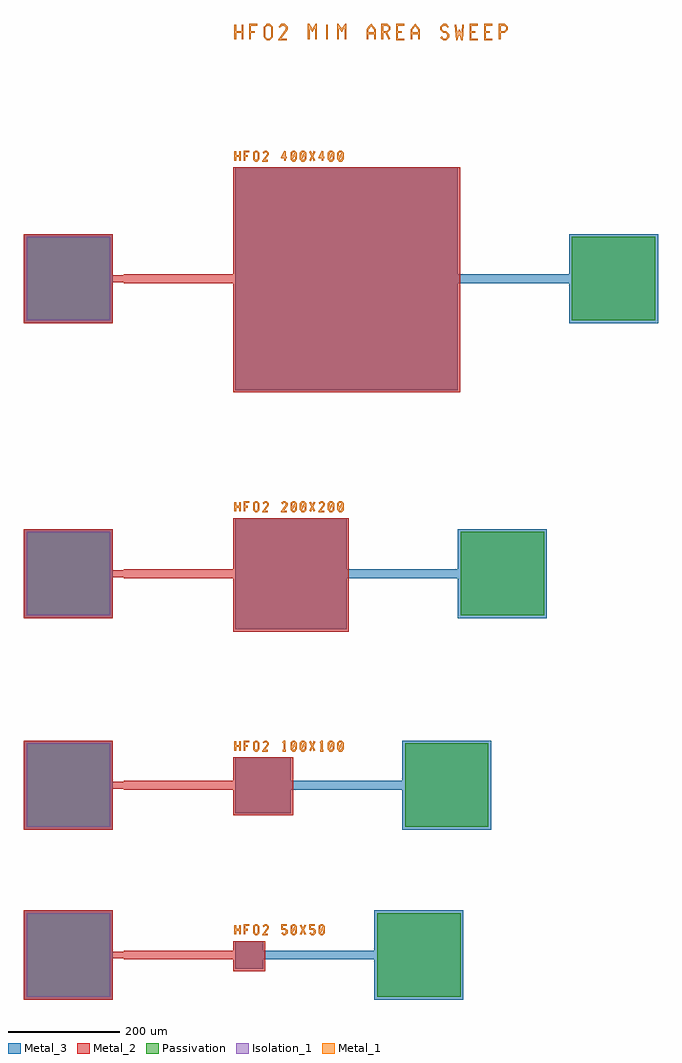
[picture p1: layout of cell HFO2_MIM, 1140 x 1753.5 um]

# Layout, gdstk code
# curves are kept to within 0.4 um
import gdstk
lib = gdstk.Library(unit=1e-6, precision=1e-09)
def R(c, l, rs):  # rectangles x0, y0, x1, y1
    for r in rs: c.add(gdstk.rectangle(r[:2], r[2:], *l))
def P(c, l, *ps):  # polygons
    for p in ps: c.add(gdstk.Polygon(p, *l))
Metal_1 = (1, 0)
Isolation_1 = (2, 0)
Metal_2 = (3, 0)
Metal_3 = (5, 0)
Passivation = (6, 0)

hfo2_mim = lib.new_cell('HFO2_MIM')
R(hfo2_mim, Metal_1, [(163.5,1670,166.5,1696.4)])
P(hfo2_mim, Metal_1, [(473.7,1670),(473.7,1694.9),(476.7,1694.9),(476.7,1684.7),(483.378,1684.7),(486.9,1688.222),(486.9,1691.378),(483.378,1694.9),(473.7,1694.9),(473.7,1697.9),(484.622,1697.9),(489.9,1692.622),(489.9,1686.978),(484.622,1681.7),(476.7,1681.7),(476.7,1670)],
  [(275.858,1669.328),(269.672,1681.7),(265.5,1681.7),(265.5,1670),(262.5,1670),(262.5,1694.9),(265.5,1694.9),(265.5,1684.7),(272.178,1684.7),(275.7,1688.222),(275.7,1691.378),(272.178,1694.9),(262.5,1694.9),(262.5,1697.9),(273.422,1697.9),(278.7,1692.622),(278.7,1686.978),(273.158,1681.436),(278.543,1670.671)],
  [(288.9,1668.5),(288.9,1697.9),(303.6,1697.9),(303.6,1694.9),(291.9,1694.9),(291.9,1684.7),(299.2,1684.7),(299.2,1681.7),(291.9,1681.7),(291.9,1671.5),(303.6,1671.5),(303.6,1668.5)],
  [(420.9,1668.5),(420.9,1697.9),(435.6,1697.9),(435.6,1694.9),(423.9,1694.9),(423.9,1684.7),(431.2,1684.7),(431.2,1681.7),(423.9,1681.7),(423.9,1671.5),(435.6,1671.5),(435.6,1668.5)],
  [(447.3,1668.5),(447.3,1697.9),(462,1697.9),(462,1694.9),(450.3,1694.9),(450.3,1684.7),(457.6,1684.7),(457.6,1681.7),(450.3,1681.7),(450.3,1671.5),(462,1671.5),(462,1668.5)],
  [(56.578,1668.5),(51.739,1673.339),(51.3,1674.4),(51.3,1692.622),(53.578,1694.9),(57.822,1694.9),(54.3,1691.378),(54.3,1675.022),(57.822,1671.5),(60.978,1671.5),(64.5,1675.022),(64.5,1691.378),(60.978,1694.9),(53.578,1694.9),(56.578,1697.9),(62.222,1697.9),(67.5,1692.622),(67.5,1673.778),(62.222,1668.5)],
  [(-1.5,62),(-1.5,78.8),(1.5,78.8),(1.5,71.9),(6.9,71.9),(6.9,78.8),(9.9,78.8),(9.9,62),(6.9,62),(6.9,68.9),(1.5,68.9),(1.5,62)],
  [(-1.5,392),(-1.5,408.8),(1.5,408.8),(1.5,401.9),(6.9,401.9),(6.9,408.8),(9.9,408.8),(9.9,392),(6.9,392),(6.9,398.9),(1.5,398.9),(1.5,392)],
  [(-1.5,822),(-1.5,838.8),(1.5,838.8),(1.5,831.9),(6.9,831.9),(6.9,838.8),(9.9,838.8),(9.9,822),(6.9,822),(6.9,828.9),(1.5,828.9),(1.5,822)],
  [(-1.5,1452),(-1.5,1468.8),(1.5,1468.8),(1.5,1461.9),(6.9,1461.9),(6.9,1468.8),(9.9,1468.8),(9.9,1452),(6.9,1452),(6.9,1458.9),(1.5,1458.9),(1.5,1452)],
  [(102.978,60.5),(99.739,63.739),(99.3,64.8),(99.3,69.9),(106.5,69.9),(102.781,64.941),(104.222,63.5),(105.778,63.5),(107.7,65.422),(107.7,69.5),(106.5,69.9),(99.3,69.9),(99.3,76.622),(99.978,77.3),(104.222,77.3),(102.3,75.378),(102.3,71.3),(103.5,70.9),(107.219,75.859),(105.778,77.3),(99.978,77.3),(102.978,80.3),(107.022,80.3),(110.7,76.622),(110.7,64.178),(107.022,60.5)],
  [(153.378,60.5),(150.139,63.739),(149.7,64.8),(149.7,69.9),(156.9,69.9),(153.181,64.941),(154.622,63.5),(156.178,63.5),(158.1,65.422),(158.1,69.5),(156.9,69.9),(149.7,69.9),(149.7,76.622),(150.378,77.3),(154.622,77.3),(152.7,75.378),(152.7,71.3),(153.9,70.9),(157.619,75.859),(156.178,77.3),(150.378,77.3),(153.378,80.3),(157.422,80.3),(161.1,76.622),(161.1,64.178),(157.422,60.5)],
  [(102.978,390.5),(99.739,393.739),(99.3,394.8),(99.3,399.9),(106.5,399.9),(102.781,394.941),(104.222,393.5),(105.778,393.5),(107.7,395.422),(107.7,399.5),(106.5,399.9),(99.3,399.9),(99.3,406.622),(99.978,407.3),(104.222,407.3),(102.3,405.378),(102.3,401.3),(103.5,400.9),(107.219,405.859),(105.778,407.3),(99.978,407.3),(102.978,410.3),(107.022,410.3),(110.7,406.622),(110.7,394.178),(107.022,390.5)],
  [(119.778,390.5),(116.539,393.739),(116.1,394.8),(116.1,399.9),(123.3,399.9),(119.581,394.941),(121.022,393.5),(122.578,393.5),(124.5,395.422),(124.5,399.5),(123.3,399.9),(116.1,399.9),(116.1,406.622),(116.778,407.3),(121.022,407.3),(119.1,405.378),(119.1,401.3),(120.3,400.9),(124.019,405.859),(122.578,407.3),(116.778,407.3),(119.778,410.3),(123.822,410.3),(127.5,406.622),(127.5,394.178),(123.822,390.5)],
  [(170.178,390.5),(166.939,393.739),(166.5,394.8),(166.5,399.9),(173.7,399.9),(169.981,394.941),(171.422,393.5),(172.978,393.5),(174.9,395.422),(174.9,399.5),(173.7,399.9),(166.5,399.9),(166.5,406.622),(167.178,407.3),(171.422,407.3),(169.5,405.378),(169.5,401.3),(170.7,400.9),(174.419,405.859),(172.978,407.3),(167.178,407.3),(170.178,410.3),(174.222,410.3),(177.9,406.622),(177.9,394.178),(174.222,390.5)],
  [(186.978,390.5),(183.739,393.739),(183.3,394.8),(183.3,399.9),(190.5,399.9),(186.781,394.941),(188.222,393.5),(189.778,393.5),(191.7,395.422),(191.7,399.5),(190.5,399.9),(183.3,399.9),(183.3,406.622),(183.978,407.3),(188.222,407.3),(186.3,405.378),(186.3,401.3),(187.5,400.9),(191.219,405.859),(189.778,407.3),(183.978,407.3),(186.978,410.3),(191.022,410.3),(194.7,406.622),(194.7,394.178),(191.022,390.5)],
  [(102.978,820.5),(99.739,823.739),(99.3,824.8),(99.3,829.9),(106.5,829.9),(102.781,824.941),(104.222,823.5),(105.778,823.5),(107.7,825.422),(107.7,829.5),(106.5,829.9),(99.3,829.9),(99.3,836.622),(99.978,837.3),(104.222,837.3),(102.3,835.378),(102.3,831.3),(103.5,830.9),(107.219,835.859),(105.778,837.3),(99.978,837.3),(102.978,840.3),(107.022,840.3),(110.7,836.622),(110.7,824.178),(107.022,820.5)],
  [(119.778,820.5),(116.539,823.739),(116.1,824.8),(116.1,829.9),(123.3,829.9),(119.581,824.941),(121.022,823.5),(122.578,823.5),(124.5,825.422),(124.5,829.5),(123.3,829.9),(116.1,829.9),(116.1,836.622),(116.778,837.3),(121.022,837.3),(119.1,835.378),(119.1,831.3),(120.3,830.9),(124.019,835.859),(122.578,837.3),(116.778,837.3),(119.778,840.3),(123.822,840.3),(127.5,836.622),(127.5,824.178),(123.822,820.5)],
  [(170.178,820.5),(166.939,823.739),(166.5,824.8),(166.5,829.9),(173.7,829.9),(169.981,824.941),(171.422,823.5),(172.978,823.5),(174.9,825.422),(174.9,829.5),(173.7,829.9),(166.5,829.9),(166.5,836.622),(167.178,837.3),(171.422,837.3),(169.5,835.378),(169.5,831.3),(170.7,830.9),(174.419,835.859),(172.978,837.3),(167.178,837.3),(170.178,840.3),(174.222,840.3),(177.9,836.622),(177.9,824.178),(174.222,820.5)],
  [(186.978,820.5),(183.739,823.739),(183.3,824.8),(183.3,829.9),(190.5,829.9),(186.781,824.941),(188.222,823.5),(189.778,823.5),(191.7,825.422),(191.7,829.5),(190.5,829.9),(183.3,829.9),(183.3,836.622),(183.978,837.3),(188.222,837.3),(186.3,835.378),(186.3,831.3),(187.5,830.9),(191.219,835.859),(189.778,837.3),(183.978,837.3),(186.978,840.3),(191.022,840.3),(194.7,836.622),(194.7,824.178),(191.022,820.5)],
  [(102.978,1450.5),(99.739,1453.739),(99.3,1454.8),(99.3,1459.9),(106.5,1459.9),(102.781,1454.941),(104.222,1453.5),(105.778,1453.5),(107.7,1455.422),(107.7,1459.5),(106.5,1459.9),(99.3,1459.9),(99.3,1466.622),(99.978,1467.3),(104.222,1467.3),(102.3,1465.378),(102.3,1461.3),(103.5,1460.9),(107.219,1465.859),(105.778,1467.3),(99.978,1467.3),(102.978,1470.3),(107.022,1470.3),(110.7,1466.622),(110.7,1454.178),(107.022,1450.5)],
  [(119.778,1450.5),(116.539,1453.739),(116.1,1454.8),(116.1,1459.9),(123.3,1459.9),(119.581,1454.941),(121.022,1453.5),(122.578,1453.5),(124.5,1455.422),(124.5,1459.5),(123.3,1459.9),(116.1,1459.9),(116.1,1466.622),(116.778,1467.3),(121.022,1467.3),(119.1,1465.378),(119.1,1461.3),(120.3,1460.9),(124.019,1465.859),(122.578,1467.3),(116.778,1467.3),(119.778,1470.3),(123.822,1470.3),(127.5,1466.622),(127.5,1454.178),(123.822,1450.5)],
  [(170.178,1450.5),(166.939,1453.739),(166.5,1454.8),(166.5,1459.9),(173.7,1459.9),(169.981,1454.941),(171.422,1453.5),(172.978,1453.5),(174.9,1455.422),(174.9,1459.5),(173.7,1459.9),(166.5,1459.9),(166.5,1466.622),(167.178,1467.3),(171.422,1467.3),(169.5,1465.378),(169.5,1461.3),(170.7,1460.9),(174.419,1465.859),(172.978,1467.3),(167.178,1467.3),(170.178,1470.3),(174.222,1470.3),(177.9,1466.622),(177.9,1454.178),(174.222,1450.5)],
  [(186.978,1450.5),(183.739,1453.739),(183.3,1454.8),(183.3,1459.9),(190.5,1459.9),(186.781,1454.941),(188.222,1453.5),(189.778,1453.5),(191.7,1455.422),(191.7,1459.5),(190.5,1459.9),(183.3,1459.9),(183.3,1466.622),(183.978,1467.3),(188.222,1467.3),(186.3,1465.378),(186.3,1461.3),(187.5,1460.9),(191.219,1465.859),(189.778,1467.3),(183.978,1467.3),(186.978,1470.3),(191.022,1470.3),(194.7,1466.622),(194.7,1454.178),(191.022,1450.5)],
  [(130.5,1670),(130.5,1697.9),(132.514,1698.458),(138.257,1688.886),(138.943,1688.886),(144.686,1698.458),(146.7,1697.9),(146.7,1670),(143.7,1670),(143.7,1688.375),(142.357,1688.747),(139.114,1683.342),(138.086,1683.342),(134.843,1688.747),(133.5,1688.375),(133.5,1670)],
  [(183.3,1670),(183.3,1697.9),(185.314,1698.458),(191.057,1688.886),(191.743,1688.886),(197.486,1698.458),(199.5,1697.9),(199.5,1670),(196.5,1670),(196.5,1688.375),(195.157,1688.747),(191.914,1683.342),(190.886,1683.342),(187.643,1688.747),(186.3,1688.375),(186.3,1670)],
  [(399.23,1668.146),(396.831,1668.381),(394.505,1696.274),(397.495,1696.525),(398.641,1682.764),(400.242,1682.608),(401.57,1687.254),(403.63,1687.254),(404.958,1682.608),(406.559,1682.764),(407.705,1696.525),(410.695,1696.274),(408.369,1668.381),(405.97,1668.146),(403.287,1677.535),(401.913,1677.535)],
  [(77.699,1668.5),(77.1,1669.7),(90.9,1688.1),(90.9,1691.378),(87.378,1694.9),(84.222,1694.9),(80.261,1690.939),(78.139,1693.061),(82.978,1697.9),(88.622,1697.9),(93.9,1692.622),(93.9,1687.1),(82.8,1672.3),(83.2,1671.5),(92.4,1671.5),(92.4,1668.5)],
  [(-1.5,1670),(-1.5,1696.4),(1.5,1696.4),(1.5,1684.7),(11.7,1684.7),(11.7,1696.4),(14.7,1696.4),(14.7,1670),(11.7,1670),(11.7,1681.7),(1.5,1681.7),(1.5,1670)],
  [(15.3,62),(15.3,80.3),(25.2,80.3),(25.2,77.3),(18.3,77.3),(18.3,71.9),(22.4,71.9),(22.4,68.9),(18.3,68.9),(18.3,62)],
  [(15.3,392),(15.3,410.3),(25.2,410.3),(25.2,407.3),(18.3,407.3),(18.3,401.9),(22.4,401.9),(22.4,398.9),(18.3,398.9),(18.3,392)],
  [(15.3,822),(15.3,840.3),(25.2,840.3),(25.2,837.3),(18.3,837.3),(18.3,831.9),(22.4,831.9),(22.4,828.9),(18.3,828.9),(18.3,822)],
  [(15.3,1452),(15.3,1470.3),(25.2,1470.3),(25.2,1467.3),(18.3,1467.3),(18.3,1461.9),(22.4,1461.9),(22.4,1458.9),(18.3,1458.9),(18.3,1452)],
  [(88.1,1452),(88.1,1456.1),(82.5,1456.1),(81.987,1456.93),(88.258,1469.471),(89.599,1468.8),(91.1,1468.8),(91.1,1459.1),(92.4,1459.1),(92.4,1456.1),(91.1,1456.1),(91.1,1452)],
  [(155.3,1452),(155.3,1456.1),(149.7,1456.1),(149.187,1456.93),(155.458,1469.471),(156.799,1468.8),(158.3,1468.8),(158.3,1459.1),(159.6,1459.1),(159.6,1456.1),(158.3,1456.1),(158.3,1452)],
  [(118.942,61.328),(116.257,62.671),(120.122,70.4),(116.257,78.129),(118.942,79.472),(121.353,74.648),(122.247,74.648),(124.658,79.472),(127.343,78.129),(123.477,70.4),(127.343,62.671),(124.658,61.328),(122.247,66.152),(121.353,66.152)],
  [(135.742,391.328),(133.057,392.671),(136.922,400.4),(133.057,408.129),(135.742,409.472),(138.153,404.648),(139.047,404.648),(141.458,409.472),(144.143,408.129),(140.277,400.4),(144.143,392.671),(141.458,391.328),(139.047,396.152),(138.153,396.152)],
  [(135.742,821.328),(133.057,822.671),(136.922,830.4),(133.057,838.129),(135.742,839.472),(138.153,834.648),(139.047,834.648),(141.458,839.472),(144.143,838.129),(140.277,830.4),(144.143,822.671),(141.458,821.328),(139.047,826.152),(138.153,826.152)],
  [(135.742,1451.328),(133.057,1452.671),(136.922,1460.4),(133.057,1468.129),(135.742,1469.472),(138.153,1464.648),(139.047,1464.648),(141.458,1469.472),(144.143,1468.129),(140.277,1460.4),(144.143,1452.671),(141.458,1451.328),(139.047,1456.152),(138.153,1456.152)],
  [(35.778,60.5),(32.539,63.739),(32.1,64.8),(32.1,76.622),(32.778,77.3),(37.022,77.3),(35.1,75.378),(35.1,65.422),(37.022,63.5),(38.578,63.5),(40.5,65.422),(40.5,75.378),(38.578,77.3),(32.778,77.3),(35.778,80.3),(39.822,80.3),(43.5,76.622),(43.5,64.178),(39.822,60.5)],
  [(35.778,390.5),(32.539,393.739),(32.1,394.8),(32.1,406.622),(32.778,407.3),(37.022,407.3),(35.1,405.378),(35.1,395.422),(37.022,393.5),(38.578,393.5),(40.5,395.422),(40.5,405.378),(38.578,407.3),(32.778,407.3),(35.778,410.3),(39.822,410.3),(43.5,406.622),(43.5,394.178),(39.822,390.5)],
  [(35.778,820.5),(32.539,823.739),(32.1,824.8),(32.1,836.622),(32.778,837.3),(37.022,837.3),(35.1,835.378),(35.1,825.422),(37.022,823.5),(38.578,823.5),(40.5,825.422),(40.5,835.378),(38.578,837.3),(32.778,837.3),(35.778,840.3),(39.822,840.3),(43.5,836.622),(43.5,824.178),(39.822,820.5)],
  [(35.778,1450.5),(32.539,1453.739),(32.1,1454.8),(32.1,1466.622),(32.778,1467.3),(37.022,1467.3),(35.1,1465.378),(35.1,1455.422),(37.022,1453.5),(38.578,1453.5),(40.5,1455.422),(40.5,1465.378),(38.578,1467.3),(32.778,1467.3),(35.778,1470.3),(39.822,1470.3),(43.5,1466.622),(43.5,1454.178),(39.822,1450.5)],
  [(24.9,1670),(24.9,1697.9),(39.6,1697.9),(39.6,1694.9),(27.9,1694.9),(27.9,1684.7),(35.2,1684.7),(35.2,1681.7),(27.9,1681.7),(27.9,1670)],
  [(48.899,60.5),(48.3,61.7),(57.3,73.7),(57.3,75.378),(55.378,77.3),(53.822,77.3),(51.461,74.939),(49.339,77.061),(52.578,80.3),(56.622,80.3),(60.3,76.622),(60.3,72.7),(54,64.3),(54.4,63.5),(58.8,63.5),(58.8,60.5)],
  [(48.899,390.5),(48.3,391.7),(57.3,403.7),(57.3,405.378),(55.378,407.3),(53.822,407.3),(51.461,404.939),(49.339,407.061),(52.578,410.3),(56.622,410.3),(60.3,406.622),(60.3,402.7),(54,394.3),(54.4,393.5),(58.8,393.5),(58.8,390.5)],
  [(48.899,820.5),(48.3,821.7),(57.3,833.7),(57.3,835.378),(55.378,837.3),(53.822,837.3),(51.461,834.939),(49.339,837.061),(52.578,840.3),(56.622,840.3),(60.3,836.622),(60.3,832.7),(54,824.3),(54.4,823.5),(58.8,823.5),(58.8,820.5)],
  [(82.499,820.5),(81.9,821.7),(90.9,833.7),(90.9,835.378),(88.978,837.3),(87.422,837.3),(85.061,834.939),(82.939,837.061),(86.178,840.3),(90.222,840.3),(93.9,836.622),(93.9,832.7),(87.6,824.3),(88,823.5),(92.4,823.5),(92.4,820.5)],
  [(149.699,820.5),(149.1,821.7),(158.1,833.7),(158.1,835.378),(156.178,837.3),(154.622,837.3),(152.261,834.939),(150.139,837.061),(153.378,840.3),(157.422,840.3),(161.1,836.622),(161.1,832.7),(154.8,824.3),(155.2,823.5),(159.6,823.5),(159.6,820.5)],
  [(48.899,1450.5),(48.3,1451.7),(57.3,1463.7),(57.3,1465.378),(55.378,1467.3),(53.822,1467.3),(51.461,1464.939),(49.339,1467.061),(52.578,1470.3),(56.622,1470.3),(60.3,1466.622),(60.3,1462.7),(54,1454.3),(54.4,1453.5),(58.8,1453.5),(58.8,1450.5)],
  [(85.4,390.5),(85.4,393.5),(86.7,393.5),(86.7,404.7),(84.339,407.061),(88.2,410.922),(89.7,410.3),(89.7,393.5),(91,393.5),(91,390.5)],
  [(152.6,390.5),(152.6,393.5),(153.9,393.5),(153.9,404.7),(151.539,407.061),(155.4,410.922),(156.9,410.3),(156.9,393.5),(158.2,393.5),(158.2,390.5)],
  [(373.378,1668.5),(368.539,1673.339),(370.661,1675.461),(374.622,1671.5),(377.778,1671.5),(381.3,1675.022),(381.3,1678.178),(377.778,1681.7),(373.378,1681.7),(368.1,1686.978),(368.1,1692.622),(373.378,1697.9),(379.022,1697.9),(383.861,1693.061),(381.739,1690.939),(377.778,1694.9),(374.622,1694.9),(371.1,1691.378),(371.1,1688.222),(374.622,1684.7),(379.022,1684.7),(384.3,1679.422),(384.3,1673.778),(379.022,1668.5)],
  [(86.178,60.5),(82.939,63.739),(85.061,65.861),(87.422,63.5),(88.978,63.5),(90.9,65.422),(90.9,68.378),(88.978,70.3),(82.5,70.3),(82.5,80.3),(92.4,80.3),(92.4,77.3),(85.5,77.3),(85.5,73.3),(90.222,73.3),(93.9,69.622),(93.9,64.178),(90.222,60.5)],
  [(136.578,60.5),(133.339,63.739),(135.461,65.861),(137.822,63.5),(139.378,63.5),(141.3,65.422),(141.3,68.378),(139.378,70.3),(132.9,70.3),(132.9,80.3),(142.8,80.3),(142.8,77.3),(135.9,77.3),(135.9,73.3),(140.622,73.3),(144.3,69.622),(144.3,64.178),(140.622,60.5)],
  [(236.1,1670),(236.1,1688.1),(240.25,1693.633),(244,1693.633),(239.1,1687.1),(239.1,1682.5),(249.3,1682.5),(249.3,1687.1),(244.4,1693.633),(240.25,1693.633),(243.9,1698.5),(244.5,1698.5),(252.3,1688.1),(252.3,1670),(249.3,1670),(249.3,1679.5),(239.1,1679.5),(239.1,1670)],
  [(315.3,1670),(315.3,1688.1),(319.45,1693.633),(323.2,1693.633),(318.3,1687.1),(318.3,1682.5),(328.5,1682.5),(328.5,1687.1),(323.6,1693.633),(319.45,1693.633),(323.1,1698.5),(323.7,1698.5),(331.5,1688.1),(331.5,1670),(328.5,1670),(328.5,1679.5),(318.3,1679.5),(318.3,1670)])
R(hfo2_mim, Isolation_1, [(-375,-50,-225,100), (-375,255,-225,405), (-375,635,-225,785), (-375,1165,-225,1315)])
R(hfo2_mim, Metal_2, [(-380,-55,-220,105), (-4,-4,54,50), (-200,17,-4,33), (-221,19,-199,31), (-380,250,-220,410), (-4,276,104,380), (-200,322,-4,338), (-221,324,-199,336), (-4,606,204,810), (-380,630,-220,790), (-200,702,-4,718), (-221,704,-199,716), (-4,1036,404,1440), (-380,1160,-220,1320), (-200,1232,-4,1248), (-221,1234,-199,1246)])
R(hfo2_mim, Metal_3, [(-380,-55,-220,105), (250,-55,410,105), (0,0,50,50), (50,17,250,33), (-380,250,-220,410), (300,250,460,410), (0,280,100,380), (100,322,300,338), (0,610,200,810), (-380,630,-220,790), (400,630,560,790), (200,702,400,718), (0,1040,400,1440), (-380,1160,-220,1320), (600,1160,760,1320), (400,1232,600,1248)])
R(hfo2_mim, Passivation, [(-375,-50,-225,100), (255,-50,405,100), (-375,255,-225,405), (305,255,455,405), (-375,635,-225,785), (405,635,555,785), (-375,1165,-225,1315), (605,1165,755,1315)])

lib.write_gds('HFO2_MIM.gds')
